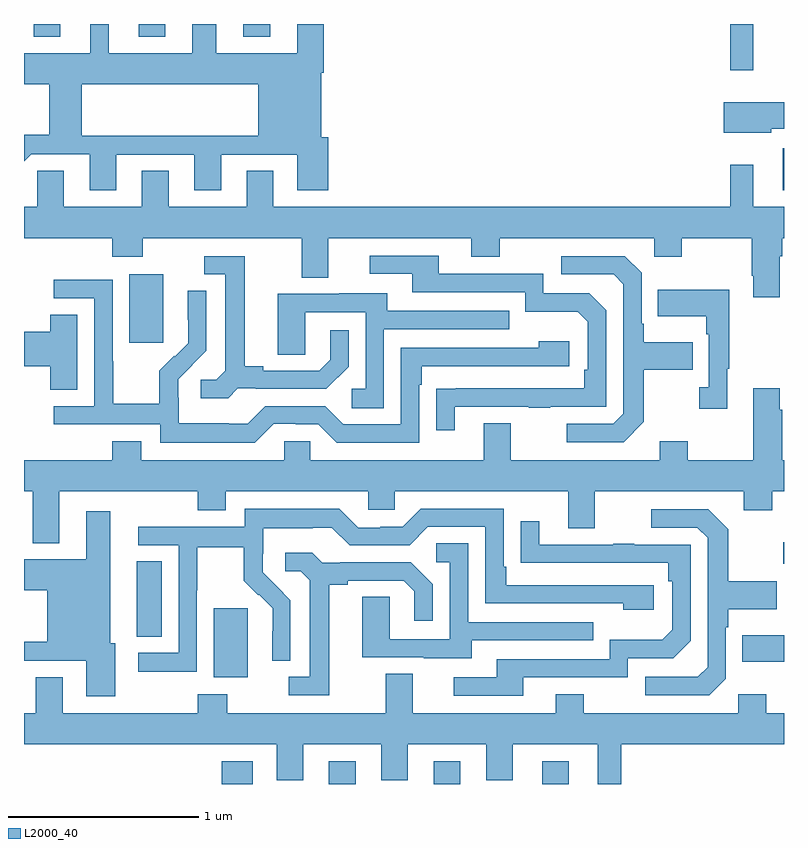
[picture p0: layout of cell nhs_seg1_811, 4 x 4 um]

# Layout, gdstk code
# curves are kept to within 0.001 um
import gdstk
lib = gdstk.Library(unit=1e-6, precision=1e-09)
def R(c, l, rs):  # rectangles x0, y0, x1, y1
    for r in rs: c.add(gdstk.rectangle(r[:2], r[2:], *l))
def A(c, l, x, y, w, h, nx, ny, dx, dy):  # array of equal rectangles
    R(c, l, [(x+i*dx, y+j*dy, x+i*dx+w, y+j*dy+h) for i in range(nx) for j in range(ny)])
def P(c, l, *ps):  # polygons
    for p in ps: c.add(gdstk.Polygon(p, *l))
L2000_40 = (2000, 40)

nhs_seg1_811 = lib.new_cell('nhs_seg1_811')
A(nhs_seg1_811, L2000_40, 155.051, 546.131, 0.14, 0.068, 3, 1, 0.552, 0)
R(nhs_seg1_811, L2000_40, [(156.041,542.199,156.205,542.32), (156.605,542.199,156.745,542.32), (157.157,542.199,157.297,542.32), (157.727,542.199,157.867,542.32), (155.999,542.762,156.178,543.123), (158.779,542.843,159,542.983), (155.594,542.974,155.725,543.371), (158.997,543.359,159,543.472), (155.555,544.521,155.734,544.882), (158.993,545.325,159,545.544), (158.718,545.955,158.839,546.199)])
P(nhs_seg1_811, L2000_40, [(155.037,545.514),(155.345,545.514),(155.345,545.325),(155.485,545.325),(155.485,545.511),(155.897,545.511),(155.897,545.325),(156.037,545.325),(156.037,545.511),(156.437,545.511),(156.437,545.325),(156.602,545.325),(156.602,545.604),(156.565,545.604),(156.565,545.942),(156.578,545.942),(156.578,546.199),(156.437,546.199),(156.437,546.046),(156.013,546.046),(156.013,546.199),(155.885,546.199),(155.885,546.046),(155.446,546.046),(155.446,546.199),(155.348,546.199),(155.348,546.046),(155,546.046),(155,545.882),(155.132,545.882),(155.132,545.615),(155,545.615),(155,545.612),(155.303,545.612),(155.303,545.882),(156.233,545.882),(156.233,545.612),(155,545.612),(155,545.477)],
  [(158.934,545.648),(159,545.648),(159,545.788),(158.684,545.788),(158.684,545.627),(158.934,545.627)],
  [(158.977,544.976),(158.99,544.976),(158.99,545.072),(159,545.072),(159,545.236),(158.839,545.236),(158.839,545.458),(158.718,545.458),(158.718,545.236),(156.313,545.236),(156.313,545.426),(156.173,545.426),(156.173,545.236),(155.761,545.236),(155.761,545.426),(155.621,545.426),(155.621,545.236),(155.209,545.236),(155.209,545.426),(155.07,545.426),(155.07,545.236),(155,545.236),(155,545.072),(155.465,545.072),(155.465,544.973),(155.625,544.973),(155.625,545.072),(156.461,545.072),(156.461,544.864),(156.601,544.864),(156.601,545.072),(157.355,545.072),(157.355,544.973),(157.503,544.973),(157.503,545.072),(158.316,545.072),(158.316,544.973),(158.463,544.973),(158.463,545.072),(158.83,545.072),(158.83,544.873),(158.837,544.873),(158.837,544.761),(158.977,544.761)],
  [(157.267,544.185),(157.657,544.185),(157.657,544.18),(157.769,544.18),(157.769,544.185),(158.064,544.185),(158.064,544.692),(157.974,544.782),(157.734,544.782),(157.734,544.884),(157.183,544.884),(157.183,544.98),(156.819,544.98),(156.819,544.884),(157.043,544.884),(157.043,544.788),(157.638,544.788),(157.638,544.685),(157.915,544.685),(157.968,544.632),(157.968,544.378),(157.948,544.378),(157.948,544.281),(157.171,544.28),(157.171,544.062),(157.267,544.062)],
  [(156.126,544.281),(156.22,544.281),(156.22,544.278),(156.592,544.278),(156.708,544.394),(156.708,544.588),(156.611,544.588),(156.611,544.431),(156.554,544.374),(156.259,544.374),(156.259,544.397),(156.163,544.397),(156.163,544.977),(155.949,544.977),(155.949,544.881),(156.059,544.881),(156.059,544.373),(156.012,544.326),(155.931,544.326),(155.931,544.229),(156.074,544.229)],
  [(158.263,544.105),(158.263,544.378),(158.519,544.378),(158.519,544.525),(158.263,544.525),(158.263,544.621),(158.25,544.621),(158.25,544.89),(158.163,544.977),(157.827,544.977),(157.827,544.881),(158.103,544.881),(158.154,544.83),(158.154,544.149),(158.1,544.095),(157.857,544.095),(157.857,543.999),(158.157,543.999)],
  [(156.315,544.095),(156.431,544.095),(156.431,544.092),(156.549,544.092),(156.645,543.996),(157.08,543.996),(157.08,544.301),(157.093,544.301),(157.093,544.398),(157.87,544.398),(157.87,544.528),(157.709,544.528),(157.709,544.494),(156.984,544.494),(156.984,544.092),(156.681,544.092),(156.585,544.188),(156.27,544.188),(156.177,544.095),(156.077,544.095),(156.077,544.099),(155.814,544.099),(155.814,544.233),(155.812,544.233),(155.812,544.33),(155.958,544.478),(155.958,544.796),(155.862,544.796),(155.862,544.642),(155.864,544.642),(155.864,544.52),(155.793,544.449),(155.79,544.452),(155.713,544.375),(155.713,544.201),(155.469,544.201),(155.469,544.424),(155.466,544.424),(155.466,544.854),(155.157,544.854),(155.157,544.755),(155.37,544.755),(155.37,544.188),(155.157,544.188),(155.157,544.092),(155.718,544.092),(155.718,543.995),(156.215,543.995)],
  [(158.701,544.385),(158.713,544.385),(158.713,544.801),(158.335,544.801),(158.335,544.661),(158.592,544.661),(158.592,544.565),(158.604,544.565),(158.604,544.286),(158.553,544.286),(158.553,544.173),(158.701,544.173)],
  [(156.894,544.593),(157.553,544.593),(157.553,544.689),(156.913,544.689),(156.913,544.783),(156.659,544.783),(156.659,544.779),(156.335,544.779),(156.335,544.459),(156.48,544.459),(156.48,544.683),(156.798,544.683),(156.798,544.278),(156.726,544.278),(156.726,544.177),(156.894,544.177)],
  [(155.281,544.67),(155.138,544.67),(155.138,544.58),(155,544.58),(155,544.397),(155.138,544.397),(155.138,544.273),(155.281,544.273)],
  [(155.185,543.74),(155.914,543.74),(155.914,543.641),(156.061,543.641),(156.061,543.74),(156.813,543.74),(156.813,543.642),(156.951,543.642),(156.951,543.74),(157.865,543.74),(157.865,543.546),(158.005,543.546),(158.005,543.74),(158.789,543.74),(158.789,543.641),(158.937,543.641),(158.937,543.74),(159,543.74),(159,543.904),(158.99,543.904),(158.99,544.169),(158.977,544.169),(158.977,544.282),(158.837,544.282),(158.837,543.904),(158.493,543.904),(158.493,544.003),(158.345,544.003),(158.345,543.904),(157.561,543.904),(157.561,544.099),(157.421,544.099),(157.421,543.904),(156.507,543.904),(156.507,544.002),(156.369,544.002),(156.369,543.904),(155.617,543.904),(155.617,544.003),(155.465,544.003),(155.465,543.904),(155,543.904),(155,543.74),(155.045,543.74),(155.045,543.467),(155.185,543.467)],
  [(155.91,543.22),(155.913,543.22),(155.913,543.444),(156.157,543.444),(156.157,543.269),(156.234,543.192),(156.237,543.195),(156.308,543.125),(156.308,543.002),(156.306,543.002),(156.306,542.848),(156.402,542.848),(156.402,543.166),(156.256,543.314),(156.256,543.411),(156.258,543.411),(156.258,543.545),(156.521,543.545),(156.521,543.549),(156.621,543.549),(156.714,543.456),(157.029,543.456),(157.125,543.552),(157.428,543.552),(157.428,543.15),(158.153,543.15),(158.153,543.116),(158.314,543.116),(158.314,543.246),(157.537,543.246),(157.537,543.343),(157.524,543.343),(157.524,543.648),(157.089,543.648),(156.993,543.552),(156.875,543.552),(156.875,543.549),(156.759,543.549),(156.659,543.649),(156.162,543.649),(156.162,543.552),(155.601,543.552),(155.601,543.456),(155.814,543.456),(155.814,542.889),(155.601,542.889),(155.601,542.791),(155.91,542.791)],
  [(158.694,542.754),(158.694,543.023),(158.707,543.023),(158.707,543.119),(158.963,543.119),(158.963,543.267),(158.707,543.267),(158.707,543.539),(158.601,543.645),(158.301,543.645),(158.301,543.549),(158.544,543.549),(158.598,543.495),(158.598,542.814),(158.547,542.763),(158.271,542.763),(158.271,542.667),(158.607,542.667)],
  [(155.479,542.94),(155.455,542.94),(155.455,543.634),(155.327,543.634),(155.327,543.382),(155,543.382),(155,543.218),(155.123,543.218),(155.123,542.948),(155,542.948),(155,542.847),(155.327,542.847),(155.327,542.661),(155.479,542.661)],
  [(157.627,542.76),(158.178,542.76),(158.178,542.862),(158.418,542.862),(158.508,542.952),(158.508,543.459),(158.213,543.459),(158.213,543.464),(158.101,543.464),(158.101,543.459),(157.711,543.459),(157.711,543.583),(157.615,543.583),(157.615,543.364),(158.392,543.363),(158.392,543.266),(158.412,543.266),(158.412,543.012),(158.359,542.959),(158.082,542.959),(158.082,542.856),(157.487,542.856),(157.487,542.76),(157.263,542.76),(157.263,542.664),(157.627,542.664)],
  [(157.357,542.955),(157.997,542.955),(157.997,543.051),(157.338,543.051),(157.338,543.467),(157.17,543.467),(157.17,543.366),(157.242,543.366),(157.242,542.961),(156.924,542.961),(156.924,543.185),(156.779,543.185),(156.779,542.865),(157.103,542.865),(157.103,542.861),(157.357,542.861)],
  [(156.607,543.248),(156.703,543.248),(156.703,543.27),(156.998,543.27),(157.055,543.213),(157.055,543.057),(157.152,543.057),(157.152,543.25),(157.036,543.366),(156.664,543.366),(156.664,543.363),(156.57,543.363),(156.518,543.415),(156.375,543.415),(156.375,543.318),(156.456,543.318),(156.503,543.271),(156.503,542.763),(156.393,542.763),(156.393,542.667),(156.607,542.667)],
  [(158.143,542.408),(159,542.408),(159,542.572),(158.907,542.572),(158.907,542.671),(158.76,542.671),(158.76,542.572),(157.947,542.572),(157.947,542.671),(157.799,542.671),(157.799,542.572),(157.045,542.572),(157.045,542.78),(156.905,542.78),(156.905,542.572),(156.069,542.572),(156.069,542.671),(155.914,542.671),(155.914,542.572),(155.203,542.572),(155.203,542.762),(155.063,542.762),(155.063,542.572),(155,542.572),(155,542.408),(156.329,542.408),(156.329,542.218),(156.469,542.218),(156.469,542.408),(156.881,542.408),(156.881,542.218),(157.021,542.218),(157.021,542.408),(157.433,542.408),(157.433,542.218),(157.572,542.218),(157.572,542.408),(158.021,542.408),(158.021,542.199),(158.143,542.199)])

lib.write_gds('nhs_seg1_811.gds')
